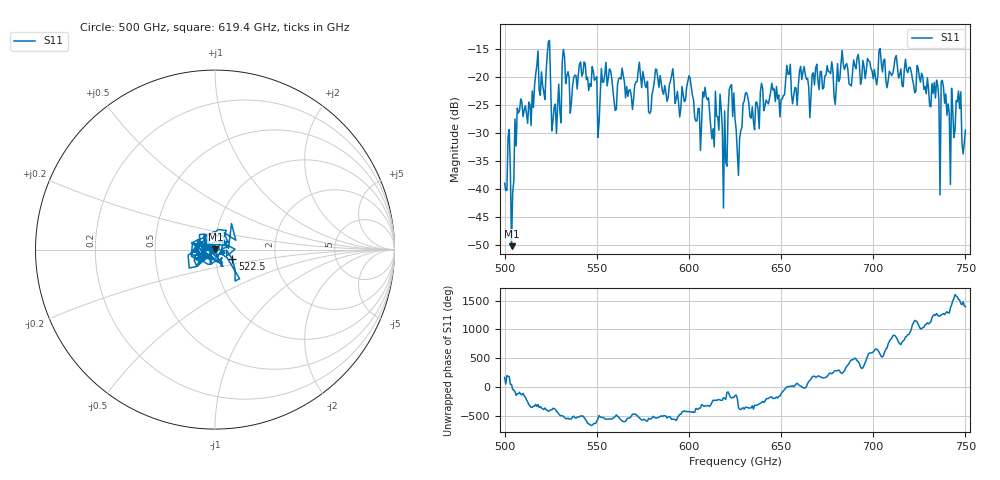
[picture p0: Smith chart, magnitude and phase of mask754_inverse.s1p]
!Created with skrf (http://scikit-rf.org).
# GHz S MA R 50.0
!freq magS11 angS11
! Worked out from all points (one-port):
!   401 points, 500 GHz to 750 GHz, reference 50 ohm
!   lowest |S11| = -50.2 dB at 503.8 GHz (marker M1), VSWR 1.01, Z = 50.2 + j0.222 ohm
!   |S11| at or under -10 dB: start of sweep to end of sweep
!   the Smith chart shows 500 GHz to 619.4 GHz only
!   S11 on the Smith chart (normalised r, x): 500 GHz: 0.98, +0.00; 522.5 GHz: 1.21, -0.13; 619.4 GHz: 0.91, +0.03
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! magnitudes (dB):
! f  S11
! 500 GHz  -39.0
! 503.8 GHz  -50.2
! 508.1 GHz  -26.0
! 522.5 GHz  -19.1
! 523.8 GHz  -13.7
! 526.9 GHz  -25.4
! 531.2 GHz  -17.3
! 550.6 GHz  -30.8
! 562.5 GHz  -20.1
! 593.8 GHz  -22.5
! 600 GHz  -19.8
! 605.6 GHz  -25.6
! 609.4 GHz  -23.5
! 612.5 GHz  -31.0
! 616.9 GHz  -23.0
! 619.4 GHz  -26.0
! 622.5 GHz  -21.6
! 625 GHz  -27.5
! 627.5 GHz  -30.9
! 630.6 GHz  -22.9
! 656.2 GHz  -24.8
! 687.5 GHz  -21.4
! 718.8 GHz  -19.2
! 735 GHz  -21.5
! 738.1 GHz  -21.8
! 743.1 GHz  -25.8
! 746.2 GHz  -22.5
! 750 GHz  -29.5
